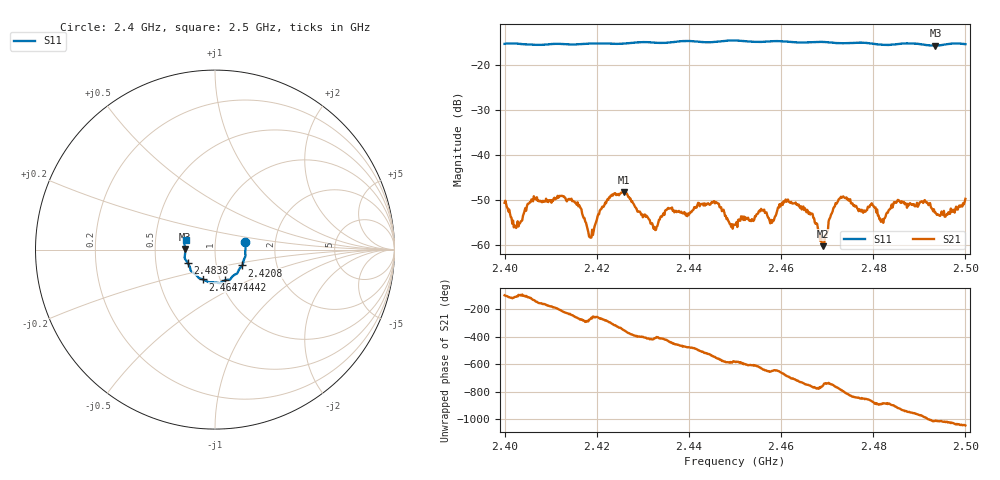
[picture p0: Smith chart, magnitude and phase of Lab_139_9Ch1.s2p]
# Hz S RI R 50
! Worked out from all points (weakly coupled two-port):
!   601 points, 2.4 GHz to 2.5 GHz, reference 50 ohm
!   highest |S21| = -48.18 dB at 2.4258 GHz (marker M1); lowest = -60.2 dB at 2.469 GHz (marker M2)
!   lowest |S11| = -15.6 dB at 2.4935 GHz (marker M3), VSWR 1.40, Z = 35.8 + j0.202 ohm
!   |S11| at or under -10 dB: start of sweep to end of sweep
!   S12 and S22 are empty: the file has one direction only
!   S11 on the Smith chart (normalised r, x): 2.4 GHz: 1.40, +0.12; 2.4208 GHz: 1.33, -0.24; 2.4442 GHz: 1.05, -0.37; 2.4647 GHz: 0.83, -0.28; 2.4838 GHz: 0.73, -0.11; 2.5 GHz: 0.72, +0.08
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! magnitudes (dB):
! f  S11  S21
! 2.4 GHz  -15.2  -50.5
! 2.4025 GHz  -15.2  -56.1
! 2.4065 GHz  -15.4  -49.4
! 2.4167 GHz  -15.3  -51.9
! 2.4187 GHz  -15.2  -58.3
! 2.4208 GHz  -15.1  -52.0
! 2.4258 GHz  -15.2  -48.2
! 2.4333 GHz  -15.0  -55.0
! 2.4442 GHz  -14.9  -50.6
! 2.45 GHz  -14.5  -55.4
! 2.4558 GHz  -14.8  -52.1
! 2.458 GHz  -14.7  -55.0
! 2.461 GHz  -14.7  -49.8
! 2.4647 GHz  -14.9  -51.4
! 2.4667 GHz  -14.8  -52.9
! 2.469 GHz  -14.8  -60.2
! 2.473 GHz  -15.1  -49.2
! 2.4818 GHz  -15.4  -54.6
! 2.4833 GHz  -15.5  -52.2
! 2.4838 GHz  -15.5  -51.6
! 2.4935 GHz  -15.6  -52.7
! 2.5 GHz  -15.3  -49.7
